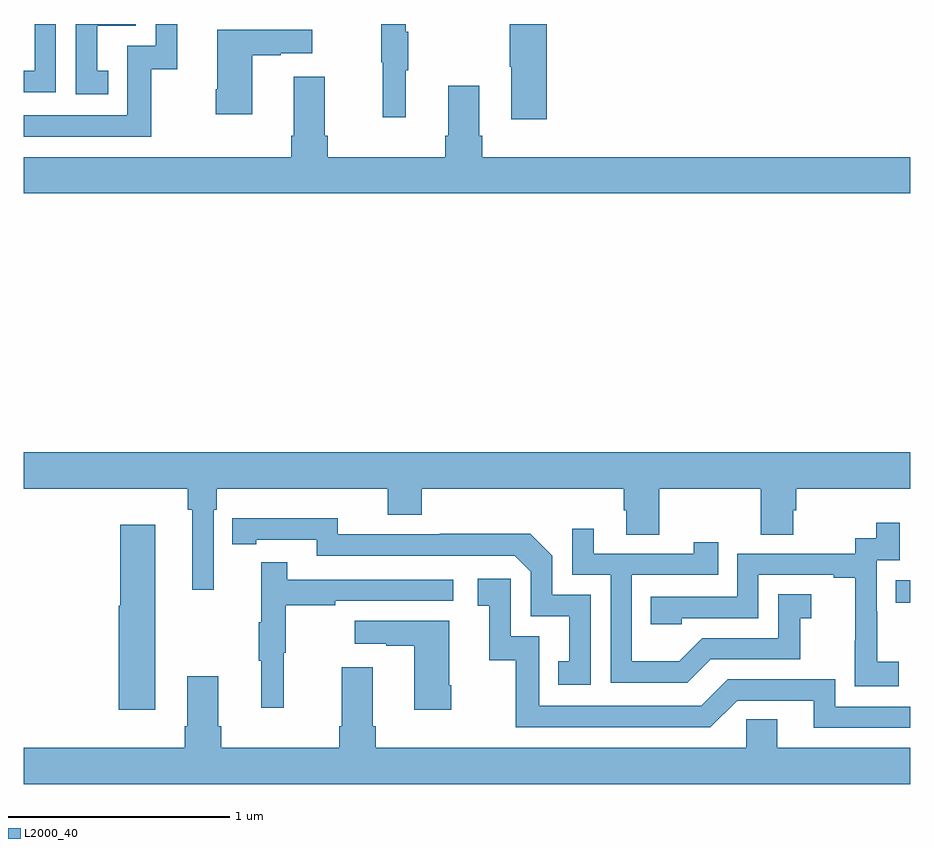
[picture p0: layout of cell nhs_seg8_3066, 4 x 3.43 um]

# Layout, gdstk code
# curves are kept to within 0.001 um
import gdstk
lib = gdstk.Library(unit=1e-6, precision=1e-09)
def R(c, l, rs):  # rectangles x0, y0, x1, y1
    for r in rs: c.add(gdstk.rectangle(r[:2], r[2:], *l))
def P(c, l, *ps):  # polygons
    for p in ps: c.add(gdstk.Polygon(p, *l))
L2000_40 = (2000, 40)

nhs_seg8_3066 = lib.new_cell('nhs_seg8_3066')
R(nhs_seg8_3066, L2000_40, [(304.933,1145.29,305,1145.391)])
P(nhs_seg8_3066, L2000_40, [(301.146,1147.9),(301.05,1147.9),(301.05,1147.69),(301,1147.69),(301,1147.593),(301.146,1147.593)],
  [(301.576,1147.695),(301.694,1147.695),(301.694,1147.9),(301.596,1147.9),(301.596,1147.803),(301.467,1147.803),(301.467,1147.488),(301,1147.488),(301,1147.392),(301.576,1147.392)],
  [(301.382,1147.689),(301.333,1147.689),(301.333,1147.893),(301.506,1147.893),(301.506,1147.9),(301.236,1147.9),(301.236,1147.584),(301.382,1147.584)],
  [(303.359,1147.9),(303.193,1147.9),(303.193,1147.708),(303.2,1147.708),(303.2,1147.47),(303.359,1147.47)],
  [(302.723,1147.691),(302.734,1147.691),(302.734,1147.865),(302.723,1147.865),(302.723,1147.9),(302.613,1147.9),(302.613,1147.728),(302.62,1147.728),(302.62,1147.479),(302.723,1147.479)],
  [(302.032,1147.759),(302.159,1147.759),(302.159,1147.769),(302.302,1147.769),(302.302,1147.873),(301.874,1147.873),(301.874,1147.606),(301.867,1147.606),(301.867,1147.494),(302.032,1147.494)],
  [(305,1147.3),(303.068,1147.3),(303.068,1147.396),(303.055,1147.396),(303.055,1147.621),(302.915,1147.621),(302.915,1147.396),(302.903,1147.396),(302.903,1147.3),(302.372,1147.3),(302.372,1147.396),(302.359,1147.396),(302.359,1147.663),(302.219,1147.663),(302.219,1147.396),(302.207,1147.396),(302.207,1147.3),(301,1147.3),(301,1147.136),(305,1147.136)],
  [(301.857,1145.708),(301.871,1145.708),(301.871,1145.804),(302.642,1145.804),(302.642,1145.687),(302.795,1145.687),(302.795,1145.804),(303.707,1145.804),(303.707,1145.706),(303.719,1145.706),(303.719,1145.596),(303.867,1145.596),(303.867,1145.804),(304.324,1145.804),(304.324,1145.596),(304.471,1145.596),(304.471,1145.706),(304.484,1145.706),(304.484,1145.804),(305,1145.804),(305,1145.968),(301,1145.968),(301,1145.804),(301.741,1145.804),(301.741,1145.708),(301.76,1145.708),(301.76,1145.349),(301.857,1145.349)],
  [(303.558,1145.325),(303.384,1145.325),(303.384,1145.502),(303.286,1145.6),(302.878,1145.6),(302.878,1145.598),(302.418,1145.598),(302.418,1145.671),(301.942,1145.67),(301.942,1145.554),(302.05,1145.554),(302.05,1145.574),(302.322,1145.574),(302.322,1145.502),(303.216,1145.502),(303.288,1145.43),(303.288,1145.229),(303.461,1145.229),(303.461,1145.025),(303.412,1145.025),(303.412,1144.92),(303.558,1144.92)],
  [(304.948,1145.023),(304.85,1145.023),(304.85,1145.252),(304.848,1145.252),(304.848,1145.481),(304.953,1145.481),(304.953,1145.65),(304.845,1145.65),(304.845,1145.58),(304.752,1145.58),(304.752,1145.511),(304.218,1145.511),(304.218,1145.316),(303.829,1145.316),(303.829,1145.193),(303.969,1145.193),(303.969,1145.22),(304.314,1145.22),(304.314,1145.415),(304.655,1145.415),(304.655,1145.403),(304.751,1145.403),(304.751,1145.119),(304.75,1145.119),(304.75,1144.913),(304.948,1144.913)],
  [(301.594,1145.641),(301.436,1145.641),(301.436,1145.277),(301.43,1145.277),(301.43,1144.806),(301.594,1144.806)],
  [(304.099,1145.034),(304.503,1145.034),(304.503,1145.219),(304.552,1145.219),(304.552,1145.329),(304.404,1145.329),(304.404,1145.13),(304.062,1145.13),(303.958,1145.026),(303.744,1145.026),(303.744,1145.415),(304.133,1145.415),(304.133,1145.563),(304.022,1145.563),(304.022,1145.511),(303.571,1145.511),(303.571,1145.623),(303.474,1145.623),(303.474,1145.415),(303.648,1145.415),(303.648,1144.929),(303.994,1144.929)],
  [(302.174,1145.064),(302.182,1145.064),(302.182,1145.278),(302.405,1145.278),(302.405,1145.298),(302.938,1145.298),(302.938,1145.394),(302.189,1145.394),(302.189,1145.473),(302.072,1145.473),(302.072,1145.201),(302.061,1145.201),(302.061,1145.027),(302.072,1145.027),(302.072,1144.815),(302.174,1144.815)],
  [(305,1144.821),(304.662,1144.821),(304.662,1144.944),(304.176,1144.944),(304.056,1144.824),(303.327,1144.824),(303.327,1145.139),(303.198,1145.139),(303.198,1145.398),(303.048,1145.398),(303.048,1145.277),(303.101,1145.277),(303.101,1145.031),(303.219,1145.031),(303.219,1144.728),(304.098,1144.728),(304.218,1144.848),(304.565,1144.848),(304.565,1144.725),(305,1144.725)],
  [(302.928,1144.918),(302.92,1144.918),(302.92,1145.209),(302.493,1145.209),(302.493,1145.105),(302.636,1145.105),(302.636,1145.095),(302.762,1145.095),(302.762,1144.806),(302.928,1144.806)],
  [(305,1144.636),(304.399,1144.636),(304.399,1144.763),(304.26,1144.763),(304.26,1144.636),(302.588,1144.636),(302.588,1144.732),(302.575,1144.732),(302.575,1144.999),(302.435,1144.999),(302.435,1144.732),(302.423,1144.732),(302.423,1144.636),(301.892,1144.636),(301.892,1144.732),(301.879,1144.732),(301.879,1144.957),(301.739,1144.957),(301.739,1144.732),(301.727,1144.732),(301.727,1144.636),(301,1144.636),(301,1144.472),(305,1144.472)])

lib.write_gds('nhs_seg8_3066.gds')
